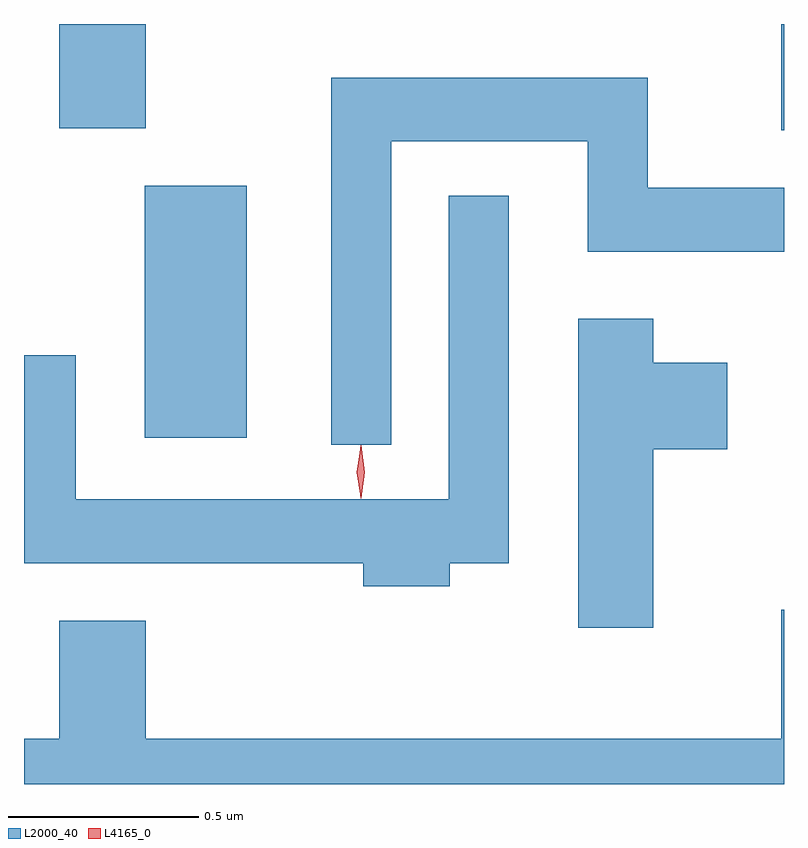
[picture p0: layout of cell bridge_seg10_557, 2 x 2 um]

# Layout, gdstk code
import gdstk
lib = gdstk.Library(unit=1e-6, precision=1e-09)
def R(c, l, rs):  # rectangles x0, y0, x1, y1
    for r in rs: c.add(gdstk.rectangle(r[:2], r[2:], *l))
def P(c, l, *ps):  # polygons
    for p in ps: c.add(gdstk.Polygon(p, *l))
L2000_40 = (2000, 40)
L4165_0 = (4165, 0)

bridge_seg10_557 = lib.new_cell('bridge_seg10_557')
R(bridge_seg10_557, L2000_40, [(770.636,2166.036,770.904,2166.699), (772.311,2166.846,772.318,2167.125), (770.411,2166.851,770.639,2167.125)])
P(bridge_seg10_557, L2000_40, [(771.284,2166.816),(771.801,2166.816),(771.801,2166.526),(772.318,2166.526),(772.318,2166.694),(771.959,2166.694),(771.959,2166.984),(771.126,2166.984),(771.126,2166.018),(771.284,2166.018)],
  [(771.439,2165.706),(771.594,2165.706),(771.594,2166.673),(771.436,2166.673),(771.436,2165.874),(770.454,2165.874),(770.454,2166.253),(770.318,2166.253),(770.318,2165.706),(771.211,2165.706),(771.211,2165.646),(771.439,2165.646)],
  [(771.974,2166.006),(772.169,2166.006),(772.169,2166.234),(771.974,2166.234),(771.974,2166.349),(771.776,2166.349),(771.776,2165.536),(771.974,2165.536)],
  [(772.318,2165.584),(772.311,2165.584),(772.311,2165.244),(770.639,2165.244),(770.639,2165.554),(770.411,2165.554),(770.411,2165.244),(770.318,2165.244),(770.318,2165.125),(772.318,2165.125)])
P(bridge_seg10_557, L4165_0, [(771.204,2165.877),(771.195,2165.946),(771.204,2166.016),(771.205,2166.016),(771.205,2166.016),(771.215,2165.946),(771.205,2165.877),(771.205,2165.877)],
  [(771.204,2165.879),(771.204,2165.88),(771.194,2165.946),(771.204,2166.012),(771.204,2166.013),(771.205,2166.012),(771.214,2165.946),(771.205,2165.88)])

lib.write_gds('bridge_seg10_557.gds')
